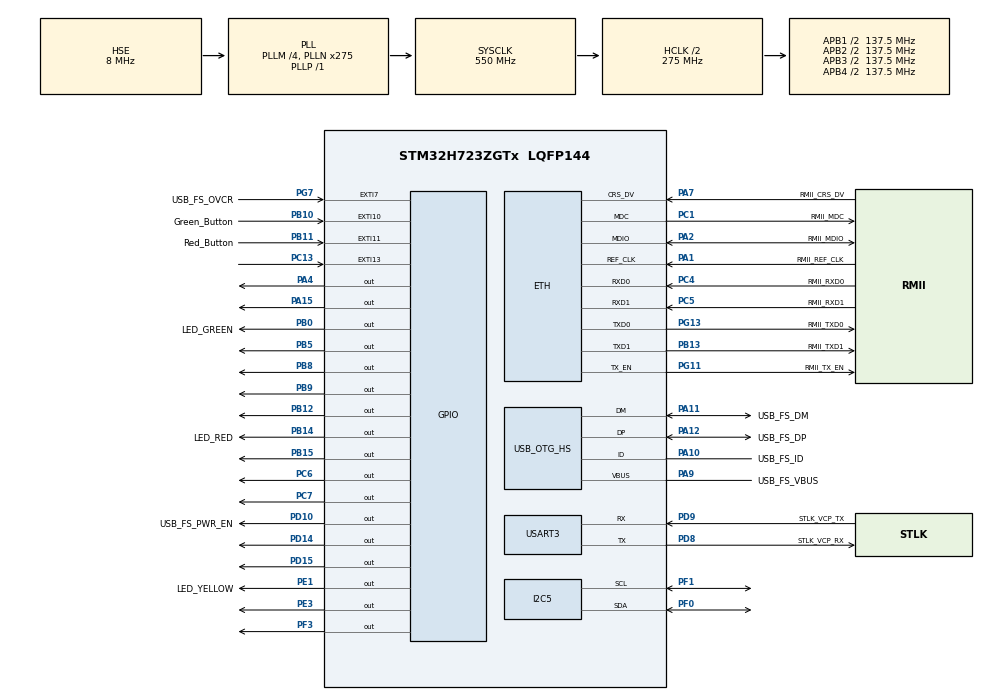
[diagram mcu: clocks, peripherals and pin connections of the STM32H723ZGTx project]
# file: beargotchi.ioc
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ETH.MediaInterface=HAL_ETH_RMII_MODE
FREERTOS.Queues01=tempQueue,32,uint32_t,0,Dynamic,NULL,NULL
FREERTOS.Tasks01=DisplayTask,24,128,StartDisplayTask,Default,NULL,Dynamic,NULL,NULL;HappinessTask,8,128,StartHappinessTask,Default,NULL,Dynamic,NULL,NULL;HealthTask,8,128,startHealthTask,Default,NULL,Dynamic,NULL,NULL
I2C5.Timing=0x60404E72
Mcu.Family=STM32H7
Mcu.Name=STM32H723ZGTx
Mcu.Package=LQFP144
NVIC.EXTI15_10_IRQn=true\:5\:0\:false\:false\:true\:true\:true\:true\:true
NVIC.EXTI9_5_IRQn=true\:5\:0\:false\:false\:true\:true\:true\:true\:true
NVIC.PriorityGroup=NVIC_PRIORITYGROUP_4
NVIC.TIM1_UP_IRQn=true\:15\:0\:false\:false\:true\:false\:false\:true\:true
NVIC.TimeBase=TIM1_UP_IRQn
NVIC.TimeBaseIP=TIM1
PA1.GPIO_Label=RMII_REF_CLK
PA1.Mode=RMII
PA1.Signal=ETH_REF_CLK
PA10.GPIO_Label=USB_FS_ID
PA10.Mode=OTG/Dual-Role-Device-FS
PA10.Signal=USB_OTG_HS_ID
PA11.GPIO_Label=USB_FS_DM
PA11.Mode=OTG/Dual-Role-Device-FS
PA11.Signal=USB_OTG_HS_DM
PA12.GPIO_Label=USB_FS_DP
PA12.Mode=OTG/Dual-Role-Device-FS
PA12.Signal=USB_OTG_HS_DP
PA13(JTMS/SWDIO).GPIO_Label=SWDIO
PA13(JTMS/SWDIO).Mode=Trace_Asynchronous_SW
PA13(JTMS/SWDIO).Signal=DEBUG_JTMS-SWDIO
PA14(JTCK/SWCLK).GPIO_Label=SWCLK
PA14(JTCK/SWCLK).Mode=Trace_Asynchronous_SW
PA14(JTCK/SWCLK).Signal=DEBUG_JTCK-SWCLK
PA15(JTDI).Signal=GPIO_Output
PA2.GPIO_Label=RMII_MDIO
PA2.Mode=RMII
PA2.Signal=ETH_MDIO
PA4.Signal=GPIO_Output
PA7.GPIO_Label=RMII_CRS_DV
PA7.Mode=RMII
PA7.Signal=ETH_CRS_DV
PA9.GPIO_Label=USB_FS_VBUS
PA9.Mode=Activate_VBUS_FS
PA9.Signal=USB_OTG_HS_VBUS
PB0.GPIO_Label=LED_GREEN
PB0.Signal=GPIO_Output
PB10.GPIO_Label=Green_Button
PB10.GPIO_ModeDefaultEXTI=GPIO_MODE_IT_RISING_FALLING
PB10.Signal=GPXTI10
PB11.GPIO_Label=Red_Button
PB11.GPIO_ModeDefaultEXTI=GPIO_MODE_IT_RISING_FALLING
PB11.Signal=GPXTI11
PB12.Signal=GPIO_Output
PB13.GPIO_Label=RMII_TXD1
PB13.Mode=RMII
PB13.Signal=ETH_TXD1
PB14.GPIO_Label=LED_RED
PB14.Signal=GPIO_Output
PB15.Signal=GPIO_Output
PB3(JTDO/TRACESWO).GPIO_Label=SWO
PB3(JTDO/TRACESWO).Mode=Trace_Asynchronous_SW
PB3(JTDO/TRACESWO).Signal=DEBUG_JTDO-SWO
PB5.Signal=GPIO_Output
PB8.Signal=GPIO_Output
PB9.Signal=GPIO_Output
PC1.GPIO_Label=RMII_MDC
PC1.Mode=RMII
PC1.Signal=ETH_MDC
PC13.Signal=GPXTI13
PC14-OSC32_IN.Mode=LSE-External-Oscillator
PC14-OSC32_IN.Signal=RCC_OSC32_IN
PC15-OSC32_OUT.Mode=LSE-External-Oscillator
PC15-OSC32_OUT.Signal=RCC_OSC32_OUT
PC4.GPIO_Label=RMII_RXD0
PC4.Mode=RMII
PC4.Signal=ETH_RXD0
PC5.GPIO_Label=RMII_RXD1
PC5.Mode=RMII
PC5.Signal=ETH_RXD1
PC6.Signal=GPIO_Output
PC7.Signal=GPIO_Output
PD10.GPIO_Label=USB_FS_PWR_EN
PD10.Signal=GPIO_Output
PD14.Signal=GPIO_Output
PD15.Signal=GPIO_Output
PD8.GPIO_Label=STLK_VCP_RX
PD8.Mode=Asynchronous
PD8.Signal=USART3_TX
PD9.GPIO_Label=STLK_VCP_TX
PD9.Mode=Asynchronous
PD9.Signal=USART3_RX
PE1.GPIO_Label=LED_YELLOW
PE1.Signal=GPIO_Output
PE3.Signal=GPIO_Output
PF0.Mode=I2C
PF0.Signal=I2C5_SDA
PF1.Mode=I2C
PF1.Signal=I2C5_SCL
PF3.Signal=GPIO_Output
PG11.GPIO_Label=RMII_TX_EN
PG11.Mode=RMII
PG11.Signal=ETH_TX_EN
PG13.GPIO_Label=RMII_TXD0
PG13.Mode=RMII
PG13.Signal=ETH_TXD0
PG7.GPIO_Label=USB_FS_OVCR
PG7.Signal=GPXTI7
PH0-OSC_IN.GPIO_Label=MCO
PH0-OSC_IN.Mode=HSE-External-Clock-Source
PH0-OSC_IN.Signal=RCC_OSC_IN
PH1-OSC_OUT.Signal=RCC_OSC_OUT
ProjectManager.HeapSize=0x200
ProjectManager.StackSize=0x400
ProjectManager.TargetToolchain=Makefile
RCC.ADCFreq_Value=76000000
RCC.APB1Freq_Value=137500000
RCC.APB2Freq_Value=137500000
RCC.APB3Freq_Value=137500000
RCC.APB4Freq_Value=137500000
RCC.CortexFreq_Value=550000000
RCC.D1PPRE=RCC_APB3_DIV2
RCC.D2PPRE1=RCC_APB1_DIV2
RCC.D2PPRE2=RCC_APB2_DIV2
RCC.D3PPRE=RCC_APB4_DIV2
RCC.DIVM1=4
RCC.DIVM2=1
RCC.DIVN1=275
RCC.DIVN2=19
RCC.DIVP1=1
RCC.DIVQ1=4
RCC.HCLKFreq_Value=275000000
RCC.HPRE=RCC_HCLK_DIV2
RCC.HSE_VALUE=8000000
RCC.PLLFRACN=0
RCC.PLLSourceVirtual=RCC_PLLSOURCE_HSE
RCC.SYSCLKFreq_VALUE=550000000
RCC.SYSCLKSource=RCC_SYSCLKSOURCE_PLLCLK
RCC.USBCLockSelection=RCC_USBCLKSOURCE_HSI48
RCC.USBFreq_Value=48000000
USART3.VirtualMode-Asynchronous=VM_ASYNC
VP_FREERTOS_VS_CMSIS_V2.Mode=CMSIS_V2
VP_SYS_VS_tim1.Mode=TIM1
board=NUCLEO-H723ZG

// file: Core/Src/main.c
/* USER CODE BEGIN Header */
/**
 ******************************************************************************
 * @file           : main.c
 * @brief          : Main program body
 ******************************************************************************
 * @attention
 *
 * Copyright (c) 2025 STMicroelectronics.
 * All rights reserved.
 *
 * This software is licensed under terms that can be found in the LICENSE file
 * in the root directory of this software component.
 * If no LICENSE file comes with this software, it is provided AS-IS.
 *
 ******************************************************************************
 */
/* USER CODE END Header */
#include "main.h"
#include "cmsis_os.h"
#include "string.h"

/* USER CODE BEGIN Includes */
#include "lcd_i2c.h"
#include "seven_seg.h"
/* USER CODE END Includes */

#if defined(__ICCARM__) /*!< IAR Compiler */
#pragma location = 0x30000000
ETH_DMADescTypeDef
    DMARxDscrTab[ETH_RX_DESC_CNT]; /* Ethernet Rx DMA Descriptors */
#pragma location = 0x30000200
ETH_DMADescTypeDef
    DMATxDscrTab[ETH_TX_DESC_CNT]; /* Ethernet Tx DMA Descriptors */

#elif defined(__CC_ARM) /* MDK ARM Compiler */

__attribute__((at(0x30000000))) ETH_DMADescTypeDef
    DMARxDscrTab[ETH_RX_DESC_CNT]; /* Ethernet Rx DMA Descriptors */
__attribute__((at(0x30000200))) ETH_DMADescTypeDef
    DMATxDscrTab[ETH_TX_DESC_CNT]; /* Ethernet Tx DMA Descriptors */

#elif defined(__GNUC__) /* GNU Compiler */
ETH_DMADescTypeDef DMARxDscrTab[ETH_RX_DESC_CNT] __attribute__((
    section(".RxDecripSection"))); /* Ethernet Rx DMA Descriptors */
ETH_DMADescTypeDef DMATxDscrTab[ETH_TX_DESC_CNT] __attribute__((
    section(".TxDecripSection"))); /* Ethernet Tx DMA Descriptors */

#endif

ETH_TxPacketConfig TxConfig;

ETH_HandleTypeDef heth;

I2C_HandleTypeDef hi2c5;

UART_HandleTypeDef huart3;

/* Definitions for DisplayTask */
osThreadId_t DisplayTaskHandle;
const osThreadAttr_t DisplayTask_attributes = {
    .name = "DisplayTask",
    .stack_size = 128 * 4,
    .priority = (osPriority_t)osPriorityNormal,
};
/* Definitions for HappinessTask */
osThreadId_t HappinessTaskHandle;
const osThreadAttr_t HappinessTask_attributes = {
    .name = "HappinessTask",
    .stack_size = 128 * 4,
    .priority = (osPriority_t)osPriorityLow,
};
/* Definitions for HealthTask */
osThreadId_t HealthTaskHandle;
const osThreadAttr_t HealthTask_attributes = {
    .name = "HealthTask",
    .stack_size = 128 * 4,
    .priority = (osPriority_t)osPriorityLow,
};
/* Definitions for tempQueue */
osMessageQueueId_t tempQueueHandle;
const osMessageQueueAttr_t tempQueue_attributes = {.name = "tempQueue"};

void SystemClock_Config(void);
static void MX_GPIO_Init(void);
static void MX_ETH_Init(void);
static void MX_USART3_UART_Init(void);
static void MX_USB_OTG_HS_USB_Init(void);
static void MX_I2C5_Init(void);
void StartDisplayTask(void *argument);
void StartHappinessTask(void *argument);
void startHealthTask(void *argument);

/* USER CODE BEGIN 0 */
#define DEBOUNCE_DELAY 200 // 200 ms debounce delay
#define MAX_HAPPINESS 10
#define MAX_health 10
#define HEALTH_DECREASE_RATE 10000   // Decrease health by 1000 ms
#define HAPPINESS_DECREASE_RATE 3200 // Decrease happiness by 1500 ms
/* USER CODE END 0 */

int main(void)
{

    /* MCU
     * Configuration--------------------------------------------------------*/

    /* Reset of all peripherals, Initializes the Flash interface and the
     * Systick. */
    HAL_Init();

    /* Configure the system clock */
    SystemClock_Config();

    /* Initialize all configured peripherals */
    MX_GPIO_Init();
    MX_ETH_Init();
    MX_USART3_UART_Init();
    MX_USB_OTG_HS_USB_Init();
    MX_I2C5_Init();

    /* Init scheduler */
    osKernelInitialize();

    /* Create the queue(s) */
    /* creation of tempQueue */
    tempQueueHandle =
        osMessageQueueNew(32, sizeof(uint32_t), &tempQueue_attributes);

    /* Create the thread(s) */
    /* creation of DisplayTask */
    DisplayTaskHandle =
        osThreadNew(StartDisplayTask, NULL, &DisplayTask_attributes);

    /* creation of HappinessTask */
    HappinessTaskHandle =
        osThreadNew(StartHappinessTask, NULL, &HappinessTask_attributes);

    /* creation of HealthTask */
    HealthTaskHandle =
        osThreadNew(startHealthTask, NULL, &HealthTask_attributes);

    /* Start scheduler */
    osKernelStart();

    /* We should never get here as control is now taken by the scheduler */
    /* Infinite loop */
    while (1)
    {

    }
}

void SystemClock_Config(void)
{
    RCC_OscInitTypeDef RCC_OscInitStruct = {0};
    RCC_ClkInitTypeDef RCC_ClkInitStruct = {0};

    /** Supply configuration update enable
     */
    HAL_PWREx_ConfigSupply(PWR_LDO_SUPPLY);

    /** Configure the main internal regulator output voltage
     */
    __HAL_PWR_VOLTAGESCALING_CONFIG(PWR_REGULATOR_VOLTAGE_SCALE0);

    while (!__HAL_PWR_GET_FLAG(PWR_FLAG_VOSRDY))
    {
    }

    /** Initializes the RCC Oscillators according to the specified parameters
     * in the RCC_OscInitTypeDef structure.
     */
    RCC_OscInitStruct.OscillatorType =
        RCC_OSCILLATORTYPE_HSI48 | RCC_OSCILLATORTYPE_HSE;
    RCC_OscInitStruct.HSEState = RCC_HSE_BYPASS;
    RCC_OscInitStruct.HSI48State = RCC_HSI48_ON;
    RCC_OscInitStruct.PLL.PLLState = RCC_PLL_ON;
    RCC_OscInitStruct.PLL.PLLSource = RCC_PLLSOURCE_HSE;
    RCC_OscInitStruct.PLL.PLLM = 4;
    RCC_OscInitStruct.PLL.PLLN = 275;
    RCC_OscInitStruct.PLL.PLLP = 1;
    RCC_OscInitStruct.PLL.PLLQ = 4;
    RCC_OscInitStruct.PLL.PLLR = 2;
    RCC_OscInitStruct.PLL.PLLRGE = RCC_PLL1VCIRANGE_1;
    RCC_OscInitStruct.PLL.PLLVCOSEL = RCC_PLL1VCOWIDE;
    RCC_OscInitStruct.PLL.PLLFRACN = 0;
    if (HAL_RCC_OscConfig(&RCC_OscInitStruct) != HAL_OK)
    {
        Error_Handler();
    }

    /** Initializes the CPU, AHB and APB buses clocks
     */
    RCC_ClkInitStruct.ClockType = RCC_CLOCKTYPE_HCLK | RCC_CLOCKTYPE_SYSCLK |
                                  RCC_CLOCKTYPE_PCLK1 | RCC_CLOCKTYPE_PCLK2 |
                                  RCC_CLOCKTYPE_D3PCLK1 | RCC_CLOCKTYPE_D1PCLK1;
    RCC_ClkInitStruct.SYSCLKSource = RCC_SYSCLKSOURCE_PLLCLK;
    RCC_ClkInitStruct.SYSCLKDivider = RCC_SYSCLK_DIV1;
    RCC_ClkInitStruct.AHBCLKDivider = RCC_HCLK_DIV2;
    RCC_ClkInitStruct.APB3CLKDivider = RCC_APB3_DIV2;
    RCC_ClkInitStruct.APB1CLKDivider = RCC_APB1_DIV2;
    RCC_ClkInitStruct.APB2CLKDivider = RCC_APB2_DIV2;
    RCC_ClkInitStruct.APB4CLKDivider = RCC_APB4_DIV2;

    if (HAL_RCC_ClockConfig(&RCC_ClkInitStruct, FLASH_LATENCY_3) != HAL_OK)
    {
        Error_Handler();
    }
}

static void MX_ETH_Init(void)
{

    static uint8_t MACAddr[6];

    heth.Instance = ETH;
    MACAddr[0] = 0x00;
    MACAddr[1] = 0x80;
    MACAddr[2] = 0xE1;
    MACAddr[3] = 0x00;
    MACAddr[4] = 0x00;
    MACAddr[5] = 0x00;
    heth.Init.MACAddr = &MACAddr[0];
    heth.Init.MediaInterface = HAL_ETH_RMII_MODE;
    heth.Init.TxDesc = DMATxDscrTab;
    heth.Init.RxDesc = DMARxDscrTab;
    heth.Init.RxBuffLen = 1524;

    if (HAL_ETH_Init(&heth) != HAL_OK)
    {
        Error_Handler();
    }

    memset(&TxConfig, 0, sizeof(ETH_TxPacketConfig));
    TxConfig.Attributes =
        ETH_TX_PACKETS_FEATURES_CSUM | ETH_TX_PACKETS_FEATURES_CRCPAD;
    TxConfig.ChecksumCtrl = ETH_CHECKSUM_IPHDR_PAYLOAD_INSERT_PHDR_CALC;
    TxConfig.CRCPadCtrl = ETH_CRC_PAD_INSERT;
}

static void MX_I2C5_Init(void)
{

    hi2c5.Instance = I2C5;
    hi2c5.Init.Timing = 0x60404E72;
    hi2c5.Init.OwnAddress1 = 0;
    hi2c5.Init.AddressingMode = I2C_ADDRESSINGMODE_7BIT;
    hi2c5.Init.DualAddressMode = I2C_DUALADDRESS_DISABLE;
    hi2c5.Init.OwnAddress2 = 0;
    hi2c5.Init.OwnAddress2Masks = I2C_OA2_NOMASK;
    hi2c5.Init.GeneralCallMode = I2C_GENERALCALL_DISABLE;
    hi2c5.Init.NoStretchMode = I2C_NOSTRETCH_DISABLE;
    if (HAL_I2C_Init(&hi2c5) != HAL_OK)
    {
        Error_Handler();
    }

    /** Configure Analogue filter
     */
    if (HAL_I2CEx_ConfigAnalogFilter(&hi2c5, I2C_ANALOGFILTER_ENABLE) != HAL_OK)
    {
        Error_Handler();
    }

    /** Configure Digital filter
     */
    if (HAL_I2CEx_ConfigDigitalFilter(&hi2c5, 0) != HAL_OK)
    {
        Error_Handler();
    }
}

static void MX_USART3_UART_Init(void)
{

    huart3.Instance = USART3;
    huart3.Init.BaudRate = 115200;
    huart3.Init.WordLength = UART_WORDLENGTH_8B;
    huart3.Init.StopBits = UART_STOPBITS_1;
    huart3.Init.Parity = UART_PARITY_NONE;
    huart3.Init.Mode = UART_MODE_TX_RX;
    huart3.Init.HwFlowCtl = UART_HWCONTROL_NONE;
    huart3.Init.OverSampling = UART_OVERSAMPLING_16;
    huart3.Init.OneBitSampling = UART_ONE_BIT_SAMPLE_DISABLE;
    huart3.Init.ClockPrescaler = UART_PRESCALER_DIV1;
    huart3.AdvancedInit.AdvFeatureInit = UART_ADVFEATURE_NO_INIT;
    if (HAL_UART_Init(&huart3) != HAL_OK)
    {
        Error_Handler();
    }
    if (HAL_UARTEx_SetTxFifoThreshold(&huart3, UART_TXFIFO_THRESHOLD_1_8) !=
        HAL_OK)
    {
        Error_Handler();
    }
    if (HAL_UARTEx_SetRxFifoThreshold(&huart3, UART_RXFIFO_THRESHOLD_1_8) !=
        HAL_OK)
    {
        Error_Handler();
    }
    if (HAL_UARTEx_DisableFifoMode(&huart3) != HAL_OK)
    {
        Error_Handler();
    }
}

static void MX_USB_OTG_HS_USB_Init(void)
{

}

static void MX_GPIO_Init(void)
{
    GPIO_InitTypeDef GPIO_InitStruct = {0};

    /* GPIO Ports Clock Enable */
    __HAL_RCC_GPIOE_CLK_ENABLE();
    __HAL_RCC_GPIOC_CLK_ENABLE();
    __HAL_RCC_GPIOF_CLK_ENABLE();
    __HAL_RCC_GPIOH_CLK_ENABLE();
    __HAL_RCC_GPIOA_CLK_ENABLE();
    __HAL_RCC_GPIOB_CLK_ENABLE();
    __HAL_RCC_GPIOD_CLK_ENABLE();
    __HAL_RCC_GPIOG_CLK_ENABLE();

    /*Configure GPIO pin Output Level */
    HAL_GPIO_WritePin(GPIOE, GPIO_PIN_3 | LED_YELLOW_Pin, GPIO_PIN_RESET);

    /*Configure GPIO pin Output Level */
    HAL_GPIO_WritePin(GPIOF, GPIO_PIN_3, GPIO_PIN_RESET);

    /*Configure GPIO pin Output Level */
    HAL_GPIO_WritePin(GPIOA, GPIO_PIN_4 | GPIO_PIN_15, GPIO_PIN_RESET);

    /*Configure GPIO pin Output Level */
    HAL_GPIO_WritePin(GPIOB,
                      LED_GREEN_Pin | GPIO_PIN_12 | LED_RED_Pin | GPIO_PIN_15 |
                          GPIO_PIN_5 | GPIO_PIN_8 | GPIO_PIN_9,
                      GPIO_PIN_RESET);

    /*Configure GPIO pin Output Level */
    HAL_GPIO_WritePin(GPIOD, USB_FS_PWR_EN_Pin | GPIO_PIN_14 | GPIO_PIN_15,
                      GPIO_PIN_RESET);

    /*Configure GPIO pin Output Level */
    HAL_GPIO_WritePin(GPIOC, GPIO_PIN_6 | GPIO_PIN_7, GPIO_PIN_RESET);

    /*Configure GPIO pins : PE3 LED_YELLOW_Pin */
    GPIO_InitStruct.Pin = GPIO_PIN_3 | LED_YELLOW_Pin;
    GPIO_InitStruct.Mode = GPIO_MODE_OUTPUT_PP;
    GPIO_InitStruct.Pull = GPIO_NOPULL;
    GPIO_InitStruct.Speed = GPIO_SPEED_FREQ_LOW;
    HAL_GPIO_Init(GPIOE, &GPIO_InitStruct);

    /*Configure GPIO pin : PC13 */
    GPIO_InitStruct.Pin = GPIO_PIN_13;
    GPIO_InitStruct.Mode = GPIO_MODE_IT_RISING;
    GPIO_InitStruct.Pull = GPIO_NOPULL;
    HAL_GPIO_Init(GPIOC, &GPIO_InitStruct);

    /*Configure GPIO pin : PF3 */
    GPIO_InitStruct.Pin = GPIO_PIN_3;
    GPIO_InitStruct.Mode = GPIO_MODE_OUTPUT_PP;
    GPIO_InitStruct.Pull = GPIO_NOPULL;
    GPIO_InitStruct.Speed = GPIO_SPEED_FREQ_LOW;
    HAL_GPIO_Init(GPIOF, &GPIO_InitStruct);

    /*Configure GPIO pins : PA4 PA15 */
    GPIO_InitStruct.Pin = GPIO_PIN_4 | GPIO_PIN_15;
    GPIO_InitStruct.Mode = GPIO_MODE_OUTPUT_PP;
    GPIO_InitStruct.Pull = GPIO_NOPULL;
    GPIO_InitStruct.Speed = GPIO_SPEED_FREQ_LOW;
    HAL_GPIO_Init(GPIOA, &GPIO_InitStruct);

    /*Configure GPIO pins : LED_GREEN_Pin PB12 LED_RED_Pin PB15
                             PB5 PB8 PB9 */
    GPIO_InitStruct.Pin = LED_GREEN_Pin | GPIO_PIN_12 | LED_RED_Pin |
                          GPIO_PIN_15 | GPIO_PIN_5 | GPIO_PIN_8 | GPIO_PIN_9;
    GPIO_InitStruct.Mode = GPIO_MODE_OUTPUT_PP;
    GPIO_InitStruct.Pull = GPIO_NOPULL;
    GPIO_InitStruct.Speed = GPIO_SPEED_FREQ_LOW;
    HAL_GPIO_Init(GPIOB, &GPIO_InitStruct);

    /*Configure GPIO pins : Green_Button_Pin Red_Button_Pin */
    GPIO_InitStruct.Pin = Green_Button_Pin | Red_Button_Pin;
    GPIO_InitStruct.Mode = GPIO_MODE_IT_RISING_FALLING;
    GPIO_InitStruct.Pull = GPIO_NOPULL;
    HAL_GPIO_Init(GPIOB, &GPIO_InitStruct);

    /*Configure GPIO pins : USB_FS_PWR_EN_Pin PD14 PD15 */
    GPIO_InitStruct.Pin = USB_FS_PWR_EN_Pin | GPIO_PIN_14 | GPIO_PIN_15;
    GPIO_InitStruct.Mode = GPIO_MODE_OUTPUT_PP;
    GPIO_InitStruct.Pull = GPIO_NOPULL;
    GPIO_InitStruct.Speed = GPIO_SPEED_FREQ_LOW;
    HAL_GPIO_Init(GPIOD, &GPIO_InitStruct);

    /*Configure GPIO pin : USB_FS_OVCR_Pin */
    GPIO_InitStruct.Pin = USB_FS_OVCR_Pin;
    GPIO_InitStruct.Mode = GPIO_MODE_IT_RISING;
    GPIO_InitStruct.Pull = GPIO_NOPULL;
    HAL_GPIO_Init(USB_FS_OVCR_GPIO_Port, &GPIO_InitStruct);

    /*Configure GPIO pins : PC6 PC7 */
    GPIO_InitStruct.Pin = GPIO_PIN_6 | GPIO_PIN_7;
    GPIO_InitStruct.Mode = GPIO_MODE_OUTPUT_PP;
    GPIO_InitStruct.Pull = GPIO_NOPULL;
    GPIO_InitStruct.Speed = GPIO_SPEED_FREQ_LOW;
    HAL_GPIO_Init(GPIOC, &GPIO_InitStruct);

    /*Configure GPIO pin : USB_FS_VBUS_Pin */
    GPIO_InitStruct.Pin = USB_FS_VBUS_Pin;
    GPIO_InitStruct.Mode = GPIO_MODE_INPUT;
    GPIO_InitStruct.Pull = GPIO_NOPULL;
    HAL_GPIO_Init(USB_FS_VBUS_GPIO_Port, &GPIO_InitStruct);

    /*Configure GPIO pin : USB_FS_ID_Pin */
    GPIO_InitStruct.Pin = USB_FS_ID_Pin;
    GPIO_InitStruct.Mode = GPIO_MODE_AF_PP;
    GPIO_InitStruct.Pull = GPIO_NOPULL;
    GPIO_InitStruct.Speed = GPIO_SPEED_FREQ_LOW;
    GPIO_InitStruct.Alternate = GPIO_AF10_OTG1_HS;
    HAL_GPIO_Init(USB_FS_ID_GPIO_Port, &GPIO_InitStruct);

    /* EXTI interrupt init*/
    HAL_NVIC_SetPriority(EXTI9_5_IRQn, 5, 0);
    HAL_NVIC_EnableIRQ(EXTI9_5_IRQn);

    HAL_NVIC_SetPriority(EXTI15_10_IRQn, 5, 0);
    HAL_NVIC_EnableIRQ(EXTI15_10_IRQn);

}

/* USER CODE BEGIN 4 */
volatile uint32_t happiness = 10;
volatile uint32_t health = 10;
uint32_t last_interrupt_time_health = 0;
uint32_t last_interrupt_time_happiness = 0;

void HAL_GPIO_EXTI_Callback(uint16_t GPIO_Pin)
{
    uint32_t current_time = HAL_GetTick();
    if (GPIO_Pin == GPIO_PIN_10)
    {
        if (current_time - last_interrupt_time_health > DEBOUNCE_DELAY)
        {
            last_interrupt_time_health = current_time;
            if (health < 10)
            {
                health++;
            }
        }
    }
    else if (GPIO_Pin == GPIO_PIN_11)
    {
        if (current_time - last_interrupt_time_happiness > DEBOUNCE_DELAY)
        {
            last_interrupt_time_happiness = current_time;
            if (happiness < 10)
            {
                happiness++;
            }
        }
    }
    else
    {
        __NOP();
    }
}
/* USER CODE END 4 */

void StartDisplayTask(void *argument)
{
    /* USER CODE BEGIN 5 */
    LCD_Init(2);

    LCD_Clear();
    LCD_SetCursor(0, 0);
    /* Infinite loop */
    for (;;)
    {
        // writeNumToSevenSeg(base_index);
        if (happiness == 0 && health == 0)
        {
            LCD_Clear();
            LCD_SetCursor(0, 0);
            LCD_PrintStr("Game Over");
        }
        else
        {
            char line1[20];
            char line2[20];

            sprintf(line1, "happiness is %d", happiness);
            sprintf(line2, "health is %d", health);

            LCD_Clear();
            LCD_SetCursor(0, 0);
            LCD_PrintStr(line1);

            LCD_SetCursor(0, 1);
            LCD_PrintStr(line2);
        }
        osDelay(25);
    }
    /* USER CODE END 5 */
}

void StartHappinessTask(void *argument)
{
    /* USER CODE BEGIN StartHappinessTask */
    TickType_t xLastWakeTime;
    const TickType_t xFrequency = HAPPINESS_DECREASE_RATE / portTICK_PERIOD_MS;

    // Initialise the xLastWakeTime variable with the current time.
    xLastWakeTime = xTaskGetTickCount();
    /* Infinite loop */
    for (;;)
    {
        if (happiness <= 0)
        {
            happiness = 0; // Prevent happiness from going negative
        }
        else
        {
            happiness--;
        }
        vTaskDelayUntil(&xLastWakeTime, xFrequency);
    }
    /* USER CODE END StartHappinessTask */
}

void startHealthTask(void *argument)
{
    /* USER CODE BEGIN startHealthTask */

    TickType_t xLastWakeTime;
    const TickType_t xFrequency = HEALTH_DECREASE_RATE / portTICK_PERIOD_MS;

    // Initialise the xLastWakeTime variable with the current time.
    xLastWakeTime = xTaskGetTickCount();
    /* Infinite loop */
    for (;;)
    {
        if (health <= 0)
        {
            health = 0; // Prevent health from going negative
        }
        else
        {
            health--;
        }
        vTaskDelayUntil(&xLastWakeTime, xFrequency);
    }
    /* USER CODE END startHealthTask */
}

void HAL_TIM_PeriodElapsedCallback(TIM_HandleTypeDef *htim)
{
    if (htim->Instance == TIM1)
    {
        HAL_IncTick();
    }
}

void Error_Handler(void)
{
    /* USER CODE BEGIN Error_Handler_Debug */
    /* User can add his own implementation to report the HAL error return state
     */
    __disable_irq();
    while (1)
    {
    }
    /* USER CODE END Error_Handler_Debug */
}

#ifdef USE_FULL_ASSERT
/**
 * @brief  Reports the name of the source file and the source line number
 *         where the assert_param error has occurred.
 * @param  file: pointer to the source file name
 * @param  line: assert_param error line source number
 * @retval None
 */
void assert_failed(uint8_t *file, uint32_t line)
{
    /* USER CODE BEGIN 6 */
    /* User can add his own implementation to report the file name and line
       number, ex: printf("Wrong parameters value: file %s on line %d\r\n",
       file, line) */
    /* USER CODE END 6 */
}
#endif /* USE_FULL_ASSERT */
